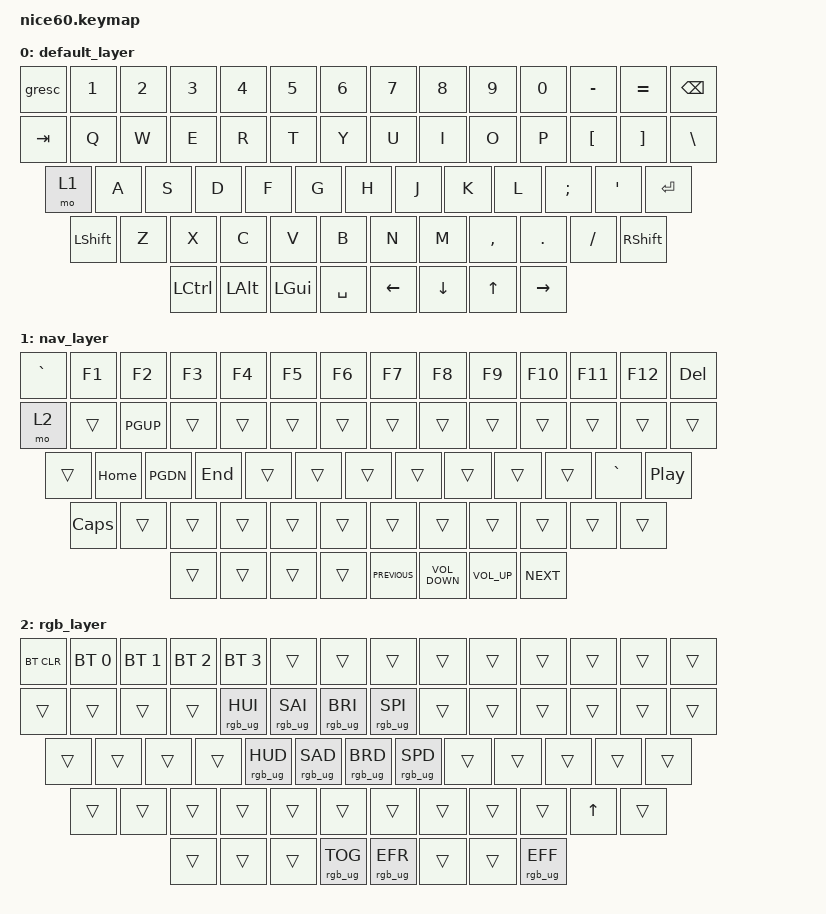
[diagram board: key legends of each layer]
/*
 * Copyright (c) 2021 Nick Winans
 *
 * SPDX-License-Identifier: MIT
 */

/*
 * https://zmk.dev/docs/codes
 */

#include <behaviors.dtsi>
#include <dt-bindings/zmk/keys.h>
#include <dt-bindings/zmk/rgb.h>
#include <dt-bindings/zmk/bt.h>
#include <dt-bindings/zmk/outputs.h>
#include <dt-bindings/zmk/reset.h>
#include <dt-bindings/zmk/ext_power.h>

/ {
	keymap {
		compatible = "zmk,keymap";

		default_layer {
// ------------------------------------------------------------------------------------------
// | ESC |  1  |  2  |  3  |  4  |  5  |  6  |  7  |  8  |  9  |  0  |  -  |  =  |   BKSP   |
// | TAB  |  Q  |  W  |  E  |  R  |  T  |  Y  |  U  |  I  |  O  |  P  |  [  |  ]  |   "|"   |
// | MO(1) |  A  |  S  |  D  |  F  |  G  |  H  |  J  |  K  |  L  |  ;  |  '  |     ENTER    |
// |  SHIFT  |  Z  |  X  |  C  |  V  |  B  |  N  |  M  |  ,  |  .  |  /  |      SHIFT       |
// |  CTL  |  ALT  |  GUI  |            SPACE              |  LT   |   DN  |  UP  |   RT    |
// ------------------------------------------------------------------------------------------
			bindings = <
	&gresc  &kp N1  &kp N2  &kp N3  &kp N4  &kp N5  &kp N6  &kp N7  &kp N8  &kp N9  &kp N0  &kp MINUS  &kp EQUAL  &kp BSPC
	&kp TAB  &kp Q  &kp W  &kp E  &kp R  &kp T  &kp Y  &kp U  &kp I  &kp O  &kp P  &kp LBKT  &kp RBKT  &kp BSLH
	&mo 1  &kp A  &kp S  &kp D  &kp F  &kp G  &kp H  &kp J  &kp K  &kp L  &kp SEMI  &kp SQT  &kp RET
	&kp LSHFT  &kp Z  &kp X  &kp C  &kp V  &kp B  &kp N  &kp M  &kp COMMA  &kp DOT  &kp FSLH  &kp RSHFT
	&kp LCTRL  &kp LALT  &kp LGUI  &kp SPACE  &kp LEFT  &kp DOWN  &kp UP  &kp RIGHT
			>;
		};

		nav_layer {
// ------------------------------------------------------------------------------------------
// |  `~ | F1  | F2  | F3  | F4  | F5  | F6  | F7  | F8  | F9  | F10 | F11 | F12 |    DEL   |
// | MO(2)|     | PGUP |     |     |     |     |     |    |     |     |     |     |         |
// |       | HOME | PGDN | END |     |     |     |    |    |     |     | `~  |  PLAY/PAUSE  |
// |   CAPS  |     |     |     |     |     |     |     |     |     |     |                  |
// |       |       |       |                               | PREV  | VOLDN | VOLUP |  NEXT  |
// ------------------------------------------------------------------------------------------
			bindings = <
	&kp GRAVE  &kp F1  &kp F2  &kp F3  &kp F4  &kp F5  &kp F6  &kp F7  &kp F8  &kp F9  &kp F10  &kp F11  &kp F12  &kp DEL
	&mo 2  &trans  &kp PGUP  &trans  &trans  &trans  &trans  &trans  &trans  &trans  &trans  &trans  &trans  &trans
	&trans  &kp HOME  &kp PGDN  &kp END  &trans  &trans  &trans  &trans  &trans  &trans  &trans  &kp GRAVE  &kp C_PLAY_PAUSE
	&kp CLCK  &trans  &trans  &trans  &trans  &trans  &trans  &trans  &trans  &trans  &trans  &trans
	&trans  &trans  &trans  &trans  &kp C_PREVIOUS  &kp C_VOLUME_DOWN  &kp C_VOLUME_UP  &kp C_NEXT
			>;
		};

		rgb_layer {
// ------------------------------------------------------------------------------------------
// |BTCLR| BT1 | BT2 | BT3 | BT4 |     |     |     |     |     |     |     |     |          |
// |      |     |     |     |HUEUP|SATUP|BRIUP|SPDUP|     |     |     |     |     |         |
// |       |     |     |     |HUEDN|SATDN|BRIDN|SPDDN|     |     |     |     |              |
// |         |     |     |     |     |     |     |     |     |     |     |                  |
// |       |       |       |            TOG RGB            |RGB REV|       |      | RGB FOR |
// ------------------------------------------------------------------------------------------
			bindings = <
	&bt BT_CLR  &bt BT_SEL 0  &bt BT_SEL 1  &bt BT_SEL 2  &bt BT_SEL 3  &trans  &trans  &trans  &trans  &trans  &trans  &trans  &trans  &trans
	&trans  &trans  &trans  &trans  &rgb_ug RGB_HUI  &rgb_ug RGB_SAI  &rgb_ug RGB_BRI  &rgb_ug RGB_SPI  &trans  &trans  &trans  &trans  &trans  &trans
	&trans  &trans  &trans  &trans  &rgb_ug RGB_HUD  &rgb_ug RGB_SAD  &rgb_ug RGB_BRD  &rgb_ug RGB_SPD  &trans  &trans  &trans  &trans  &trans
	&trans  &trans  &trans  &trans  &trans  &trans  &trans  &trans  &trans  &trans  &kp UP  &trans
	&trans  &trans  &trans  &rgb_ug RGB_TOG  &rgb_ug RGB_EFR  &trans  &trans  &rgb_ug RGB_EFF
			>;
		};
	};
};
